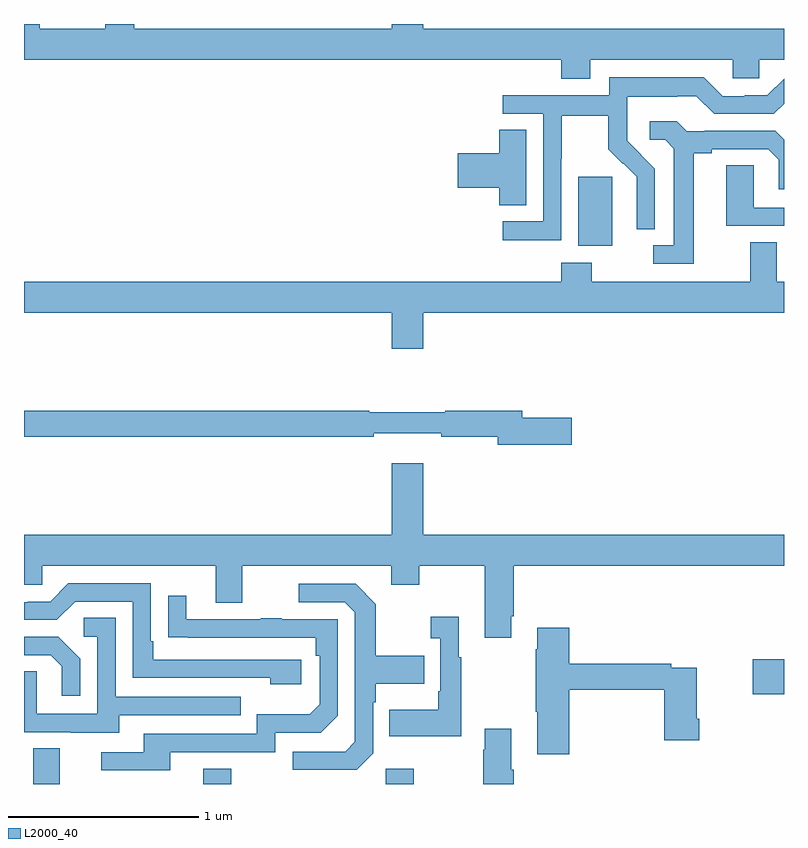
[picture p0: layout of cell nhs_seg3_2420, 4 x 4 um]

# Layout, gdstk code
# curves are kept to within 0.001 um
import gdstk
lib = gdstk.Library(unit=1e-6, precision=1e-09)
def R(c, l, rs):  # rectangles x0, y0, x1, y1
    for r in rs: c.add(gdstk.rectangle(r[:2], r[2:], *l))
def P(c, l, *ps):  # polygons
    for p in ps: c.add(gdstk.Polygon(p, *l))
L2000_40 = (2000, 40)

nhs_seg3_2420 = lib.new_cell('nhs_seg3_2420')
R(nhs_seg3_2420, L2000_40, [(235.049,734.4,235.189,734.588), (235.943,734.4,236.091,734.479), (236.904,734.4,237.051,734.479), (238.836,734.873,239,735.056), (237.917,737.234,238.096,737.595)])
P(nhs_seg3_2420, L2000_40, [(237.1,738.4),(236.936,738.4),(236.936,738.376),(235.58,738.376),(235.58,738.4),(235.427,738.4),(235.427,738.376),(235.083,738.376),(235.083,738.4),(235,738.4),(235,738.212),(237.827,738.212),(237.827,738.113),(237.979,738.113),(237.979,738.212),(238.731,738.212),(238.731,738.114),(238.869,738.114),(238.869,738.212),(239,738.212),(239,738.376),(237.1,738.376)],
  [(237.828,737.692),(237.831,737.692),(237.831,737.916),(238.075,737.916),(238.075,737.741),(238.152,737.664),(238.155,737.667),(238.226,737.597),(238.226,737.474),(238.224,737.474),(238.224,737.32),(238.32,737.32),(238.32,737.638),(238.174,737.786),(238.174,737.883),(238.176,737.883),(238.176,738.017),(238.439,738.017),(238.439,738.021),(238.539,738.021),(238.632,737.928),(238.947,737.928),(239,737.981),(239,738.113),(238.911,738.024),(238.793,738.024),(238.793,738.021),(238.677,738.021),(238.577,738.121),(238.08,738.121),(238.08,738.024),(237.519,738.024),(237.519,737.928),(237.732,737.928),(237.732,737.361),(237.519,737.361),(237.519,737.263),(237.828,737.263)],
  [(238.525,737.72),(238.621,737.72),(238.621,737.742),(238.916,737.742),(238.973,737.685),(238.973,737.529),(239,737.529),(239,737.792),(238.954,737.838),(238.582,737.838),(238.582,737.835),(238.488,737.835),(238.436,737.887),(238.293,737.887),(238.293,737.79),(238.374,737.79),(238.421,737.743),(238.421,737.235),(238.311,737.235),(238.311,737.139),(238.525,737.139)],
  [(237.643,737.843),(237.5,737.843),(237.5,737.72),(237.282,737.72),(237.282,737.537),(237.5,737.537),(237.5,737.446),(237.643,737.446)],
  [(239,737.433),(238.842,737.433),(238.842,737.657),(238.697,737.657),(238.697,737.337),(239,737.337)],
  [(237.1,736.88),(239,736.88),(239,737.044),(238.963,737.044),(238.963,737.252),(238.823,737.252),(238.823,737.044),(237.987,737.044),(237.987,737.143),(237.827,737.143),(237.827,737.044),(235,737.044),(235,736.88),(236.936,736.88),(236.936,736.692),(237.1,736.692)],
  [(237.883,736.328),(237.622,736.328),(237.622,736.364),(237.218,736.364),(237.218,736.357),(236.818,736.357),(236.818,736.364),(235,736.364),(235,736.228),(236.84,736.228),(236.84,736.247),(237.196,736.247),(237.196,736.228),(237.494,736.228),(237.494,736.186),(237.883,736.186)],
  [(237.565,735.283),(237.578,735.283),(237.578,735.548),(239,735.548),(239,735.712),(237.1,735.712),(237.1,736.087),(236.936,736.087),(236.936,735.712),(235,735.712),(235,735.45),(235.095,735.45),(235.095,735.548),(236.009,735.548),(236.009,735.354),(236.149,735.354),(236.149,735.548),(236.933,735.548),(236.933,735.449),(237.081,735.449),(237.081,735.548),(237.425,735.548),(237.425,735.171),(237.565,735.171)],
  [(236.458,735.054),(235.681,735.054),(235.681,735.151),(235.668,735.151),(235.668,735.456),(235.233,735.456),(235.137,735.36),(235.019,735.36),(235.019,735.357),(235,735.357),(235,735.264),(235.173,735.264),(235.269,735.36),(235.572,735.36),(235.572,734.958),(236.297,734.958),(236.297,734.924),(236.458,734.924)],
  [(236.838,734.562),(236.838,734.831),(236.851,734.831),(236.851,734.927),(237.107,734.927),(237.107,735.075),(236.851,735.075),(236.851,735.347),(236.745,735.453),(236.445,735.453),(236.445,735.357),(236.688,735.357),(236.742,735.303),(236.742,734.622),(236.691,734.571),(236.415,734.571),(236.415,734.475),(236.751,734.475)],
  [(235.771,734.568),(236.322,734.568),(236.322,734.67),(236.562,734.67),(236.652,734.76),(236.652,735.267),(236.357,735.267),(236.357,735.272),(236.245,735.272),(236.245,735.267),(235.855,735.267),(235.855,735.391),(235.759,735.391),(235.759,735.172),(236.536,735.171),(236.536,735.074),(236.556,735.074),(236.556,734.82),(236.503,734.767),(236.226,734.767),(236.226,734.664),(235.631,734.664),(235.631,734.568),(235.407,734.568),(235.407,734.472),(235.771,734.472)],
  [(237.301,735.067),(237.289,735.067),(237.289,735.28),(237.141,735.28),(237.141,735.167),(237.192,735.167),(237.192,734.887),(237.18,734.887),(237.18,734.791),(236.923,734.791),(236.923,734.651),(237.301,734.651)],
  [(235.501,734.763),(236.141,734.763),(236.141,734.859),(235.482,734.859),(235.482,735.275),(235.314,735.275),(235.314,735.174),(235.386,735.174),(235.386,734.769),(235.068,734.769),(235.068,734.993),(235,734.993),(235,734.673),(235.247,734.673),(235.247,734.669),(235.501,734.669)],
  [(237.869,734.896),(238.37,734.896),(238.37,734.631),(238.553,734.631),(238.553,734.743),(238.54,734.743),(238.54,735.012),(238.406,735.012),(238.406,735.032),(237.869,735.032),(237.869,735.223),(237.701,735.223),(237.701,735.11),(237.694,735.11),(237.694,734.779),(237.701,734.779),(237.701,734.556),(237.869,734.556)],
  [(235.296,735.058),(235.18,735.174),(235,735.174),(235,735.078),(235.142,735.078),(235.199,735.021),(235.199,734.865),(235.296,734.865)],
  [(237.578,734.476),(237.565,734.476),(237.565,734.692),(237.425,734.692),(237.425,734.579),(237.418,734.579),(237.418,734.4),(237.578,734.4)])

lib.write_gds('nhs_seg3_2420.gds')
